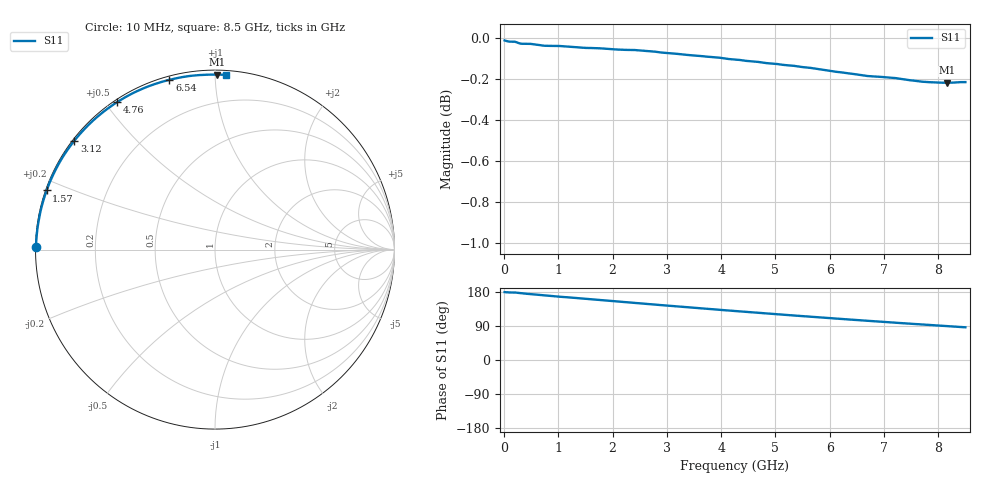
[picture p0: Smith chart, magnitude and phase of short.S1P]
!Mini Circuits and Vayyar, UVNA-63
!Date: Mon 17-Dec-2018 08:48:16
!S1P File: Measurement: S11:
!Part No: B20-64-F7+
!Part Description: UVNA-63 SMA Female Short Standard
# MHZ S DB R 50
!  frequency  S11 dB  S11 Deg
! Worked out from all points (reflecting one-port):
!   850 points, 10 MHz to 8.5 GHz, reference 50 ohm
!   lowest |S11| = -0.2 dB at 8.17 GHz (marker M1), VSWR 79.22, Z = 1.28 + j50.7 ohm
!   phase of S11 starts at 179 deg and turns -93 deg over the sweep
!   S11 on the Smith chart (normalised r, x): 10 MHz: 0.00, +0.01; 1.57 GHz: 0.00, +0.17; 3.12 GHz: 0.00, +0.34; 4.76 GHz: 0.01, +0.54; 6.54 GHz: 0.02, +0.77; 8.5 GHz: 0.03, +1.07
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10  -0.01 179.1
90  -0.02 178.3
170  -0.02 178.2
210  -0.02 178.0
350  -0.03 175.6
670  -0.04 171.6
890  -0.04 168.9
1010  -0.04 167.1
1080  -0.04 166.4
1210  -0.04 165.0
1570  -0.05 160.7
1840  -0.05 157.4
2140  -0.06 153.8
2630  -0.06 147.9
3120  -0.08 142.2
3200  -0.08 141.3
3730  -0.09 135.2
4260  -0.11 129.2
4760  -0.12 123.7
5320  -0.14 117.6
5830  -0.15 112.3
6380  -0.17 106.6
6540  -0.18 105.0
7000  -0.19 100.4
7440  -0.21 96.2
8170  -0.22 89.2
8460  -0.22 86.6
8500  -0.22 86.3
